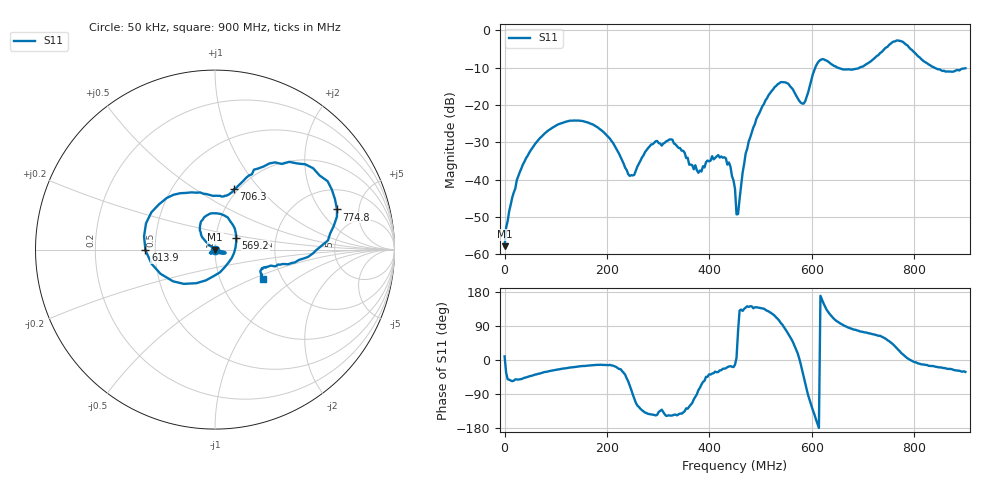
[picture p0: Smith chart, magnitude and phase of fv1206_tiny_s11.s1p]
# Hz S RI R 50
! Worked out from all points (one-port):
!   303 points, 50 kHz to 900 MHz, reference 50 ohm
!   lowest |S11| = -57.9 dB at 50 kHz (marker M1), VSWR 1.00, Z = 50.1 + j0.0212 ohm
!   |S11| at or under -10 dB: start of sweep to 606.8 MHz; 650.8 MHz to 693 MHz (42.23 MHz wide, 6.28 % of centre); 839.7 MHz to end of sweep
!   S11 on the Smith chart (normalised r, x): 50 kHz: 1.00, +0.00; 569.2 MHz: 1.26, +0.17; 613.9 MHz: 0.44, -0.00; 706.3 MHz: 0.96, +0.74; 774.8 MHz: 3.19, +2.94; 900 MHz: 1.60, -0.57
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50000  0.00126 0.000211
8989800  0.00233 -0.00297
3.58095e7  0.0106 -0.012
1.132886e8  0.0533 -0.0225
1.728879e8  0.0532 -0.0127
2.265273e8  0.0183 -0.00817
2.50367e8  -0.000159 -0.0114
2.950665e8  -0.0272 -0.0182
3.397661e8  -0.0213 -0.0159
3.785057e8  0.00223 -0.0121
4.321451e8  0.0179 -0.00719
4.470449e8  0.00924 -0.00314
4.530048e8  0.0034 0.000339
4.708846e8  -0.0167 0.0149
4.917444e8  -0.0494 0.0426
5.334639e8  -0.0602 0.1802
5.632636e8  0.1101 0.1182
5.692235e8  0.1179 0.0647
5.841233e8  0.0755 -0.0721
6.020031e8  -0.1739 -0.1908
6.139229e8  -0.3873 -0.00435
6.318027e8  -0.2309 0.3056
6.765022e8  0.0354 0.2959
7.063019e8  0.1057 0.3364
7.510014e8  0.4142 0.4889
7.748411e8  0.6799 0.224
7.897409e8  0.5947 0.022
8.999997e8  0.2656 -0.1624
